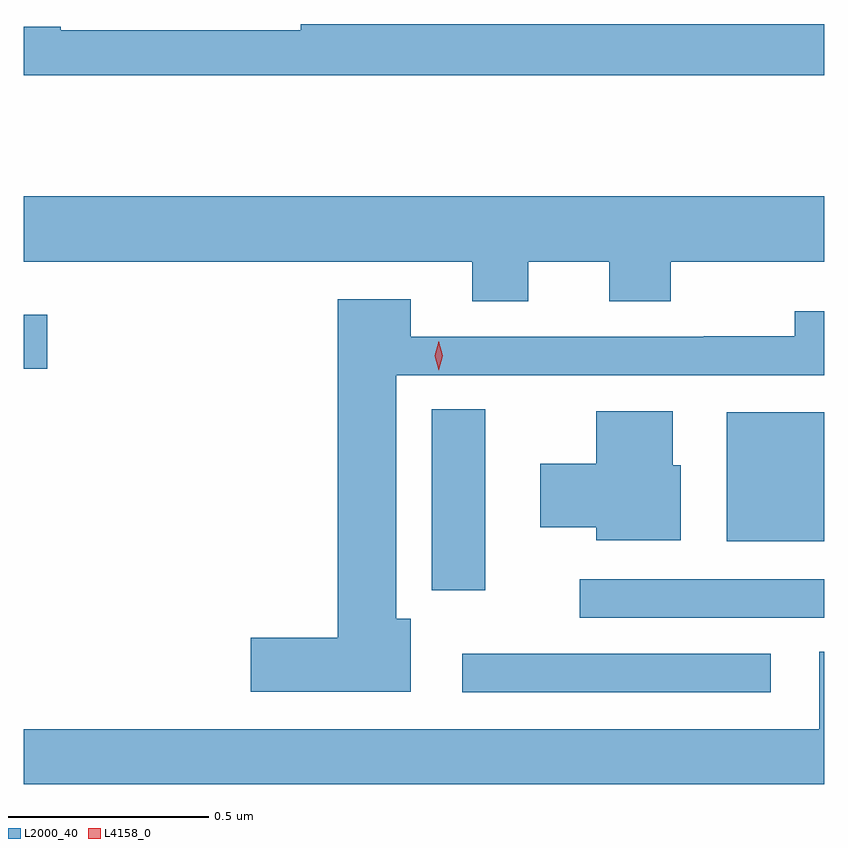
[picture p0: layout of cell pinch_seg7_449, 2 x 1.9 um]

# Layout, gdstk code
import gdstk
lib = gdstk.Library(unit=1e-6, precision=1e-09)
def R(c, l, rs):  # rectangles x0, y0, x1, y1
    for r in rs: c.add(gdstk.rectangle(r[:2], r[2:], *l))
def P(c, l, *ps):  # polygons
    for p in ps: c.add(gdstk.Polygon(p, *l))
L2000_40 = (2000, 40)
L4158_0 = (4158, 0)

pinch_seg7_449 = lib.new_cell('pinch_seg7_449')
R(pinch_seg7_449, L2000_40, [(364.128,1046.16,364.9,1046.256), (364.422,1046.346,365.033,1046.442), (364.052,1046.415,364.186,1046.867), (364.79,1046.537,365.033,1046.86), (363.033,1046.969,363.091,1047.103)])
P(pinch_seg7_449, L2000_40, [(365.033,1047.83),(363.725,1047.83),(363.725,1047.815),(363.125,1047.815),(363.125,1047.823),(363.033,1047.823),(363.033,1047.702),(365.033,1047.702)],
  [(364.294,1047.236),(364.496,1047.236),(364.496,1047.137),(364.649,1047.137),(364.649,1047.236),(365.033,1047.236),(365.033,1047.4),(363.033,1047.4),(363.033,1047.236),(364.154,1047.236),(364.154,1047.137),(364.294,1047.137)],
  [(364,1046.344),(363.964,1046.344),(363.964,1046.952),(365.033,1046.952),(365.033,1047.112),(364.96,1047.112),(364.96,1047.05),(364.732,1047.05),(364.732,1047.048),(364,1047.048),(364,1047.142),(363.818,1047.142),(363.818,1046.297),(363.6,1046.297),(363.6,1046.162),(364,1046.162)],
  [(364.675,1046.727),(364.654,1046.727),(364.654,1046.863),(364.463,1046.863),(364.463,1046.731),(364.323,1046.731),(364.323,1046.573),(364.463,1046.573),(364.463,1046.54),(364.675,1046.54)],
  [(365.033,1046.261),(365.021,1046.261),(365.021,1046.068),(363.033,1046.068),(363.033,1045.931),(365.033,1045.931)])
P(pinch_seg7_449, L4158_0, [(364.07,1046.965),(364.07,1046.965),(364.06,1047.001),(364.07,1047.037),(364.07,1047.037),(364.07,1047.037),(364.08,1047.001),(364.07,1046.965)])

lib.write_gds('pinch_seg7_449.gds')
